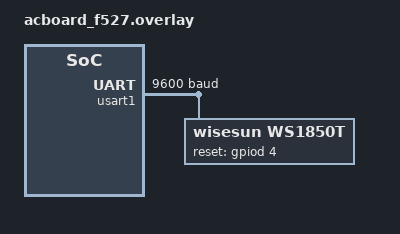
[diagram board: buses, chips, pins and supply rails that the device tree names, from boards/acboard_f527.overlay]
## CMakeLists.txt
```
# SPDX-License-Identifier: Apache-2.0

cmake_minimum_required(VERSION 3.20.0)

find_package(Zephyr REQUIRED HINTS $ENV{ZEPHYR_BASE})
project(acboard_ws1850t_test)

target_sources(app PRIVATE src/main.c)
```

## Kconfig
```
# Copyright (c) 2026
# SPDX-License-Identifier: Apache-2.0

mainmenu "ACBoard WS1850T test"

source "Kconfig.zephyr"
```

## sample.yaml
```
sample:
  name: ACBoard WS1850T RFID test
common:
  platform_allow:
    - acboard_f527
  tags:
    - rfid
    - uart
tests:
  sample.boards.acboard.ws1850t_test:
    build_only: true
```

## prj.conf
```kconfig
CONFIG_SERIAL=y
CONFIG_UART_INTERRUPT_DRIVEN=y
CONFIG_GPIO=y
CONFIG_PRINTK=y
CONFIG_LOG=n

CONFIG_MAIN_STACK_SIZE=1536
CONFIG_HEAP_MEM_POOL_SIZE=0
```

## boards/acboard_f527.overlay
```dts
/*
 * Copyright (c) 2026
 * SPDX-License-Identifier: Apache-2.0
 */

#include <zephyr/dt-bindings/gpio/gpio.h>

&usart1 {
	status = "okay";
	current-speed = <9600>;
	pinctrl-0 = <&usart1_default>;
	pinctrl-names = "default";

	ws1850t: ws1850t {
		compatible = "wisesun,ws1850t";
		/* Active level accounts for the board reset NPN buffer (schematic p6). */
		reset-gpios = <&gpiod 4 GPIO_ACTIVE_HIGH>;
	};
};
```

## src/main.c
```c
/*
 * Copyright (c) 2026
 * SPDX-License-Identifier: Apache-2.0
 */

#include <stdint.h>

#include <zephyr/device.h>
#include <zephyr/kernel.h>
#include <zephyr/sys/printk.h>

#include <zephyr/drivers/misc/ws1850t/ws1850t.h>

#define POLL_INTERVAL K_MSEC(100)
#define CARD_REMOVAL_POLLS 3U

static const struct device *const ws1850t = DEVICE_DT_GET_ONE(wisesun_ws1850t);

int main(void)
{
	uint8_t atqa[2];
	uint8_t uid[4];
	uint8_t version;
	uint32_t active_uid = 0U;
	uint32_t missed_polls = 0U;
	bool card_present = false;
	int ret;

	printk("\nACBoard WS1850T RFID reader test\n");

	if (!device_is_ready(ws1850t)) {
		printk("WS1850T device not ready\n");
		return 0;
	}

	if (ws1850t_get_version(ws1850t, &version) == 0) {
		printk("WS1850T version: 0x%02x\n", version);
	}
	printk("Waiting for ISO 14443-A card\n");

	while (true) {
		ret = ws1850t_read_card(ws1850t, atqa, uid);
		if (ret == 0) {
			uint32_t uid_value = (uint32_t)uid[0] | ((uint32_t)uid[1] << 8) |
					     ((uint32_t)uid[2] << 16) | ((uint32_t)uid[3] << 24);

			missed_polls = 0U;
			if (!card_present || uid_value != active_uid) {
				active_uid = uid_value;
				card_present = true;
				printk("Card: ATQA=%02x%02x UID=%02x%02x%02x%02x\n",
				       atqa[0], atqa[1], uid[0], uid[1], uid[2], uid[3]);
			}
		} else if (ret == -EAGAIN) {
			if (card_present && ++missed_polls >= CARD_REMOVAL_POLLS) {
				card_present = false;
				missed_polls = 0U;
				printk("Card removed\n");
			}
		} else {
			printk("Card read failed: %d\n", ret);
		}

		k_sleep(POLL_INTERVAL);
	}

	return 0;
}
```
